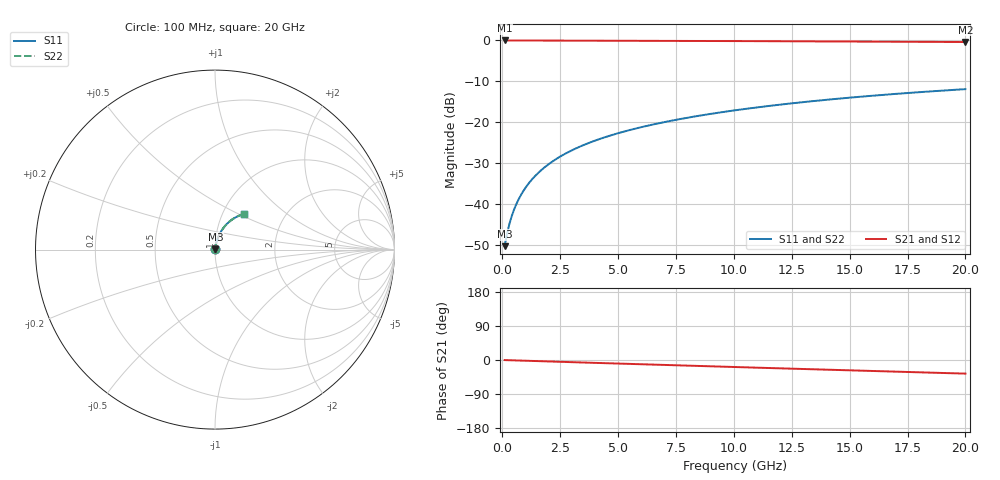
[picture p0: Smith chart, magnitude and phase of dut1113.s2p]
! Touchstone file exported from HFSS 2026.1.0
!  File:  C:/ffzhzh/LocalFiles/Ansys_Project_Files/temp_train_TMRDL_1113_1783161454_18472.aedt
!  Generated:  06:38:50 PM Jul  4, 2026
!  Design:  TMRDL
!  Project:  temp_train_TMRDL_1113_1783161454_18472
! Variables:
!  h_bsmrdl = 2um
!  h_ox = 20um
!  h_rdl = 5um
!  h_sub = 80um
!  h_tmrdl = 5.79um
!  h_tsv = 80um
!  h_via = 3um
!  l_bsmrdl = 300um
!  l_sub = 987.8um
!  l_tmrdl = 587.8um
!  m_sub = 200um
!  pitch = 29.45um
!  r_tsv = 6um
!  s_tmrdl = 10um
!  w_bsmrdl = 18um
!  w_sub = 500um
!  w_tmrdl = 14.86um
!  x_tsv_center1 = 595.23um
!  x_tsv_center2 = 913.23um
!  x_tsv_center3 = 1515.89um
!  x_tsv_center4 = 1833.89um
!  x_tsv_center5 = 2436.55um
!  x_tsv_center6 = 2754.55um
# GHz S MA R 50.000000
! Terminal data exported
! Port[1] = TM_RDL1_1_T1
! Port[2] = TM_RDL1_1_T2
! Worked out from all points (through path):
!   200 points, 100 MHz to 20 GHz, reference 50 ohm
!   highest |S21| = -0.02 dB at 100 MHz (marker M1); lowest = -0.4 dB at 20 GHz (marker M2)
!   group delay of S21, straight-line fit = 4.98 ps
!   lowest |S11| = -50.3 dB at 100 MHz (marker M3), VSWR 1.01, Z = 50.3 + j0.173 ohm
!   |S11| at or under -10 dB: start of sweep to end of sweep
!   |S22| runs from -50.3 to -11.9 dB; largest |S21 - S12| = 5.4e-15
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0.1  0.003068 34.1  0.9975 -0.2  0.9975 -0.2  0.003068 34.1
! Gamma 0 0 0 0
! Port Impedance 50 0 50 0
0.2  0.004289 51.0  0.9973 -0.4  0.9973 -0.4  0.004289 51.0
0.3  0.00564 59.6  0.9972 -0.6  0.9972 -0.6  0.00564 59.6
0.4  0.007034 65.0  0.9971 -0.8  0.9971 -0.8  0.007034 65.0
0.5  0.008459 68.6  0.997 -1.0  0.997 -1.0  0.008459 68.6
0.6  0.009908 71.1  0.9969 -1.2  0.9969 -1.2  0.009908 71.1
0.8  0.01285 74.4  0.9968 -1.5  0.9968 -1.5  0.01285 74.4
1.1  0.01732 76.9  0.9966 -2.1  0.9966 -2.1  0.01732 76.9
1.3  0.02032 77.8  0.9964 -2.5  0.9964 -2.5  0.02032 77.8
1.6  0.02481 78.5  0.9961 -3.1  0.9961 -3.1  0.02481 78.5
2.1  0.03223 78.8  0.9955 -4.0  0.9955 -4.0  0.03223 78.8
2.7  0.04103 78.5  0.9946 -5.2  0.9946 -5.2  0.04103 78.5
3.5  0.05253 77.6  0.9933 -6.6  0.9933 -6.6  0.05253 77.6
4.2  0.0624 76.6  0.9921 -7.9  0.9921 -7.9  0.0624 76.6
5  0.07348 75.4  0.9907 -9.4  0.9907 -9.4  0.07348 75.4
5.9  0.08573 74.0  0.989 -11.1  0.989 -11.1  0.08573 74.0
6.8  0.0978 72.6  0.9873 -12.7  0.9873 -12.7  0.0978 72.6
8.3  0.1175 70.3  0.9842 -15.4  0.9842 -15.4  0.1175 70.3
10.1  0.1406 67.4  0.9803 -18.6  0.9803 -18.6  0.1406 67.4
13.4  0.181 62.0  0.9724 -24.5  0.9724 -24.5  0.181 62.0
16.7  0.2189 56.6  0.9636 -30.3  0.9636 -30.3  0.2188 56.6
20  0.2537 51.2  0.9543 -35.9  0.9543 -35.9  0.2537 51.2
